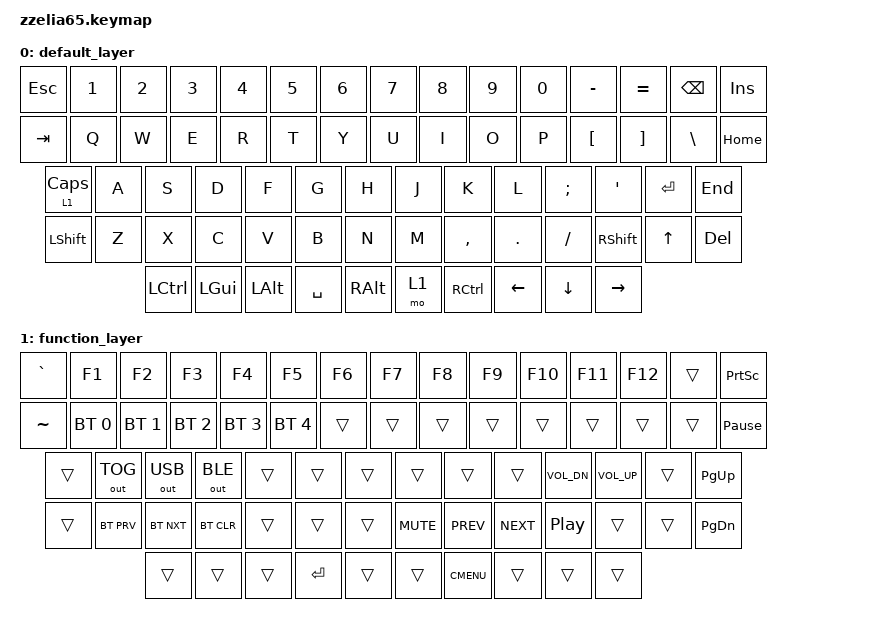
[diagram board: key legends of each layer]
#include <behaviors.dtsi>
#include <dt-bindings/zmk/keys.h>
#include <dt-bindings/zmk/bt.h>
#include <dt-bindings/zmk/outputs.h>

/ {
    keymap {
        compatible = "zmk,keymap";

		default_layer {
			// ------------------------------------------------------------------------------------------------------------------------------------
			// | ESC  |   1   |   2   |   3   |   4   |   5   |   6   |   7   |   8   |   9   |   0   |   -    |   =    |    BKSP    |-----| INS   |
			// | TAB   |   Q   |   W   |   E   |   R   |   T   |   Y   |   U   |   I   |   O   |   P   |   [    |    ]    |    \|    |-----| HOME  |
			// | MO/CAPS |   A   |   S   |   D   |   F   |   G   |   H   |   J   |   K   |   L   |   ;   |    '   |       ENTER      |-----| END   |
			// |  SHIFT   |   Z   |   X   |   C   |   V   |   B   |   N   |   M   |   ,   |   .   |   /   |      SHIFT     |---|  UP   |---| DEL   |
			// |  CTRL  |  WIN  |  ALT  |                      SPACE                     |  ALT  |   MO   |  CTRL  |---| LEFT  | DOWN  | RIGHT  |--|
			// ------------------------------------------------------------------------------------------------------------------------------------
			bindings = <
				&kp ESC &kp N1  &kp N2  &kp N3  &kp N4  &kp N5  &kp N6  &kp N7  &kp N8  &kp N9  &kp N0  &kp MINUS &kp EQUAL   &kp BSPC      &kp INS
				&kp TAB  &kp Q   &kp W   &kp E   &kp R   &kp T   &kp Y   &kp U   &kp I   &kp O   &kp P   &kp LBKT  &kp RBKT   &kp BSLH      &kp HOME
				&lt 1 CAPS &kp A   &kp S   &kp D   &kp F   &kp G   &kp H   &kp J   &kp K   &kp L   &kp SEMI &kp SQT          &kp ENTER      &kp END
				&kp LSHFT   &kp Z   &kp X   &kp C   &kp V   &kp B   &kp N   &kp M   &kp COMMA &kp DOT &kp FSLH     &kp RSHFT    &kp UP      &kp DEL
				&kp LCTRL &kp LGUI &kp LALT                &kp SPACE                   &kp RALT   &mo 1   &kp RCTRL    &kp LEFT &kp DOWN &kp RIGHT
			>;
		};

		function_layer {
			// -----------------------------------------------------------------------------------------------------------------------------------------------
			// | GRAVE |   F1   |   F2   |   F3   |   F4   |   F5   |   F6   |   F7   |   F8   |   F9   |   F10  |   F11  |  F12   |        |-----| PSCRN |
			// | TILDE  |  BT 0  |  BT 1  |  BT 2  |  BT 3  |  BT 4  |        |        |        |        |         |         |       |      |-----| PAUSE |
			// |        | OUT_TOG | OUT_USB | OUT_BLE |        |        |        |        |        |        | VOL_DN  | VOL_UP  |           |-----| PG_UP |
			// |            | BT_PRV | BT_NXT | BT_CLR |        |        |        |  MUTE  |  PREV  |  NEXT  |   PP  |           |---|        |---| PG_DN |
			// |        |        |        |                   ENTER                             |       |       |       |---|        |        |       |---|
			// -----------------------------------------------------------------------------------------------------------------------------------------------
			bindings = < 
				&kp GRAVE  &kp F1  &kp F2   &kp F3   &kp F4   &kp F5    &kp F6    &kp F7    &kp F8    &kp F9    &kp F10   &kp F11   &kp F12     &trans          &kp PSCRN
				&kp TILDE &bt BT_SEL 0 &bt BT_SEL 1 &bt BT_SEL 2 &bt BT_SEL 3 &bt BT_SEL 4 &trans &trans &trans &trans &trans &trans &trans     &trans          &kp PAUSE_BREAK
				&trans &out OUT_TOG &out OUT_USB &out OUT_BLE   &trans   &trans   &trans   &trans   &trans   &trans &kp C_VOL_DN &kp C_VOL_UP &trans            &kp PG_UP
				&trans  &bt BT_PRV  &bt BT_NXT  &bt BT_CLR  &trans   &trans   &trans   &kp C_MUTE  &kp C_PREV  &kp C_NEXT  &kp C_PP   &trans         &trans     &kp PG_DN
				&trans    &trans    &trans                           &kp ENTER                        &trans    &trans     &kp K_CMENU      &trans   &trans   &trans
			>;
		};
    };
};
